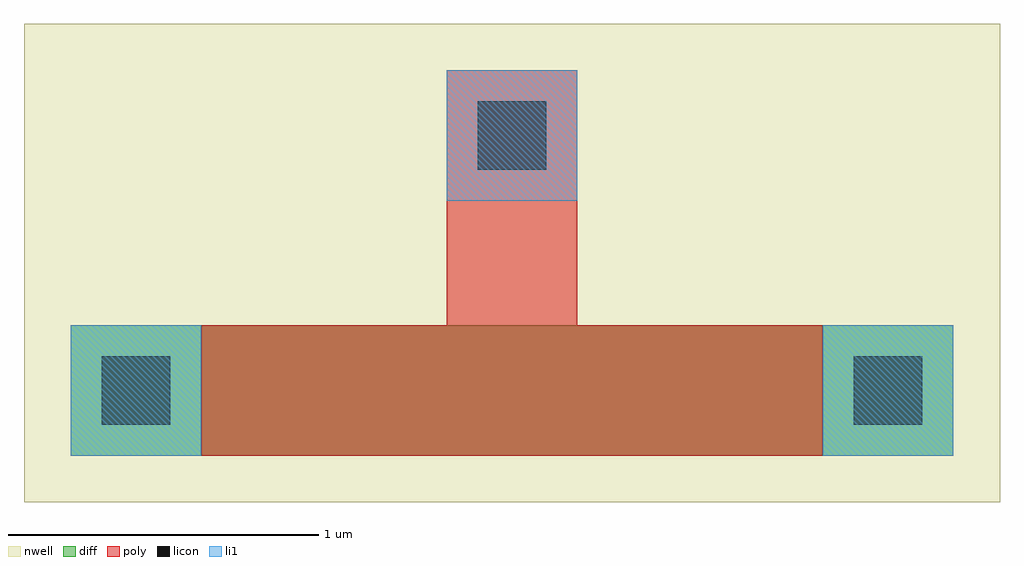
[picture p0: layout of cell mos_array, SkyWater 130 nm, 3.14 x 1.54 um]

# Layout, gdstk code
import gdstk
lib = gdstk.Library(unit=1e-6, precision=1e-09)
def R(c, l, rs):  # rectangles x0, y0, x1, y1
    for r in rs: c.add(gdstk.rectangle(r[:2], r[2:], *l))
nwell = (64, 20)
diff = (65, 20)
poly = (66, 20)
licon = (66, 44)
li1 = (67, 20)

mos_array = lib.new_cell('mos_array')
R(mos_array, nwell, [(-0.15,-0.15,2.99,1.39)])
R(mos_array, diff, [(0,0,2.84,0.42)])
R(mos_array, poly, [(0.42,0,2.42,0.42), (1.21,0.42,1.63,1.24)])
R(mos_array, licon, [(0.1,0.1,0.32,0.32), (2.52,0.1,2.74,0.32), (1.31,0.92,1.53,1.14)])
R(mos_array, li1, [(0,0,0.42,0.42), (2.42,0,2.84,0.42), (1.21,0.82,1.63,1.24)])

lib.write_gds('mos_array.gds')
